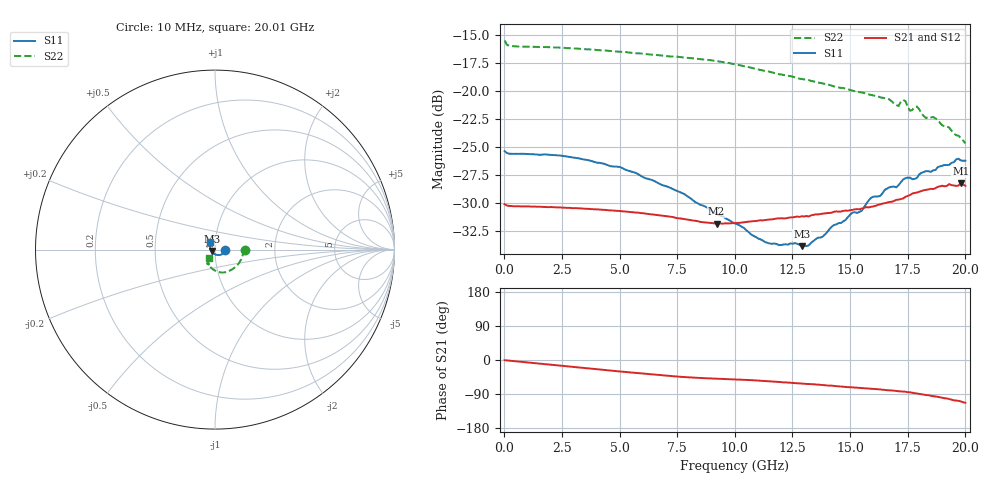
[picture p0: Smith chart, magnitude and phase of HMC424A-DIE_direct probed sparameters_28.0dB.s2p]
!s2p File: Measurements: S11, S21, S12, S22
# GHz S dB R 50.0
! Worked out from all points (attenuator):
!   201 points, 10 MHz to 20.01 GHz, reference 50 ohm
!   highest |S21| = -28.23 dB at 19.81 GHz (marker M1); lowest = -31.8 dB at 9.21 GHz (marker M2)
!   lowest |S11| = -33.8 dB at 12.91 GHz (marker M3), VSWR 1.04, Z = 48.2 - j0.792 ohm
!   |S11| at or under -10 dB: start of sweep to end of sweep
!   |S22| runs from -24.7 to -15.5 dB; largest |S21 - S12| = 0.00042
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0.01  -25.35 0.0  -30.09 -0.5  -30.11 -0.5  -15.48 -1.2
0.31  -25.59 -2.4  -30.25 -2.3  -30.25 -2.2  -15.98 -3.2
3.41  -26.08 -23.9  -30.48 -20.9  -30.47 -20.9  -16.24 -27.1
5.01  -26.77 -37.1  -30.69 -30.2  -30.70 -30.2  -16.49 -39.2
6.71  -28.25 -51.8  -31.08 -39.7  -31.07 -39.6  -16.80 -51.4
9.21  -30.96 -80.0  -31.81 -49.2  -31.79 -49.1  -17.32 -69.5
10.01  -31.79 -91.9  -31.78 -51.1  -31.78 -51.0  -17.59 -75.3
11.31  -33.46 -117.9  -31.50 -55.4  -31.48 -55.4  -18.19 -83.6
12.91  -33.83 -156.2  -31.16 -62.2  -31.14 -62.2  -18.92 -92.7
13.41  -33.38 -168.0  -31.04 -64.0  -31.06 -64.0  -19.13 -95.5
15.11  -30.84 160.5  -30.59 -72.2  -30.60 -72.1  -19.95 -104.4
15.51  -30.67 154.5  -30.47 -73.9  -30.44 -73.8  -20.13 -106.2
15.91  -29.52 148.3  -30.33 -75.9  -30.33 -75.8  -20.34 -108.5
16.71  -28.58 138.3  -29.89 -80.1  -29.86 -80.1  -20.74 -113.6
17.11  -28.39 136.7  -29.68 -82.4  -29.61 -82.5  -21.33 -113.0
17.41  -27.76 133.3  -29.43 -83.8  -29.44 -84.3  -20.89 -118.5
17.61  -27.72 130.2  -29.26 -85.1  -29.30 -85.8  -21.76 -118.3
17.91  -27.73 128.9  -29.04 -88.5  -29.09 -88.5  -21.38 -119.5
18.31  -27.13 124.0  -28.81 -92.5  -28.86 -92.4  -22.41 -121.0
18.61  -27.07 123.6  -28.74 -95.4  -28.74 -95.1  -22.31 -122.2
19.81  -26.18 120.3  -28.23 -109.2  -28.24 -109.2  -24.17 -128.0
20.01  -26.20 122.4  -28.45 -113.0  -28.45 -112.9  -24.66 -127.6
